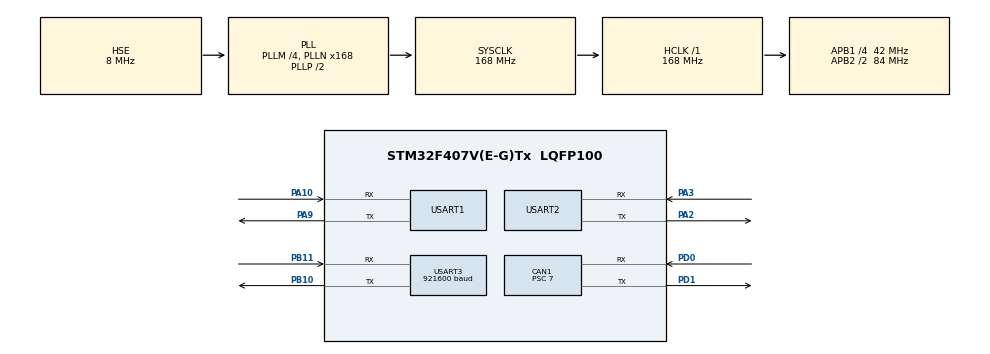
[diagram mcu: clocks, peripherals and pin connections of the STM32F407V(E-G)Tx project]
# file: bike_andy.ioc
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CAN1.ABOM=ENABLE
CAN1.AWUM=ENABLE
CAN1.BS1=CAN_BS1_3TQ
CAN1.BS2=CAN_BS2_2TQ
CAN1.CalculateBaudRate=999999
CAN1.CalculateTimeBit=1000
CAN1.CalculateTimeQuantum=166.66666666666669
CAN1.Prescaler=7
CAN1.SJW=CAN_SJW_1TQ
Dma.Request0=USART3_RX
Dma.Request1=USART3_TX
Dma.USART3_RX.0.Direction=DMA_PERIPH_TO_MEMORY
Dma.USART3_RX.0.FIFOMode=DMA_FIFOMODE_DISABLE
Dma.USART3_RX.0.Instance=DMA1_Stream1
Dma.USART3_RX.0.MemDataAlignment=DMA_MDATAALIGN_BYTE
Dma.USART3_RX.0.MemInc=DMA_MINC_ENABLE
Dma.USART3_RX.0.Mode=DMA_CIRCULAR
Dma.USART3_RX.0.PeriphDataAlignment=DMA_PDATAALIGN_BYTE
Dma.USART3_RX.0.PeriphInc=DMA_PINC_DISABLE
Dma.USART3_RX.0.Priority=DMA_PRIORITY_LOW
Dma.USART3_TX.1.Direction=DMA_MEMORY_TO_PERIPH
Dma.USART3_TX.1.FIFOMode=DMA_FIFOMODE_DISABLE
Dma.USART3_TX.1.Instance=DMA1_Stream3
Dma.USART3_TX.1.MemDataAlignment=DMA_MDATAALIGN_BYTE
Dma.USART3_TX.1.MemInc=DMA_MINC_ENABLE
Dma.USART3_TX.1.Mode=DMA_NORMAL
Dma.USART3_TX.1.PeriphDataAlignment=DMA_PDATAALIGN_BYTE
Dma.USART3_TX.1.PeriphInc=DMA_PINC_DISABLE
Dma.USART3_TX.1.Priority=DMA_PRIORITY_LOW
Mcu.Family=STM32F4
Mcu.Name=STM32F407V(E-G)Tx
Mcu.Package=LQFP100
NVIC.CAN1_RX0_IRQn=true\:6\:0\:true\:false\:true\:true\:true\:true
NVIC.DMA1_Stream1_IRQn=true\:0\:0\:false\:false\:true\:false\:true\:true
NVIC.DMA1_Stream3_IRQn=true\:0\:0\:false\:false\:true\:false\:true\:true
NVIC.PriorityGroup=NVIC_PRIORITYGROUP_4
NVIC.TIM2_IRQn=true\:5\:0\:true\:false\:true\:true\:true\:true
NVIC.TIM3_IRQn=true\:0\:0\:false\:false\:true\:true\:true\:true
NVIC.USART3_IRQn=true\:6\:0\:true\:false\:true\:true\:true\:true
PA10.Mode=Asynchronous
PA10.Signal=USART1_RX
PA13.Mode=Serial_Wire
PA13.Signal=SYS_JTMS-SWDIO
PA14.Mode=Serial_Wire
PA14.Signal=SYS_JTCK-SWCLK
PA2.Mode=Asynchronous
PA2.Signal=USART2_TX
PA3.Mode=Asynchronous
PA3.Signal=USART2_RX
PA9.Mode=Asynchronous
PA9.Signal=USART1_TX
PB10.Mode=Asynchronous
PB10.Signal=USART3_TX
PB11.Mode=Asynchronous
PB11.Signal=USART3_RX
PC14-OSC32_IN.Mode=LSE-External-Oscillator
PC14-OSC32_IN.Signal=RCC_OSC32_IN
PC15-OSC32_OUT.Mode=LSE-External-Oscillator
PC15-OSC32_OUT.Signal=RCC_OSC32_OUT
PD0.Mode=CAN_Activate
PD0.Signal=CAN1_RX
PD1.Mode=CAN_Activate
PD1.Signal=CAN1_TX
PH0-OSC_IN.Mode=HSE-External-Oscillator
PH0-OSC_IN.Signal=RCC_OSC_IN
PH1-OSC_OUT.Mode=HSE-External-Oscillator
PH1-OSC_OUT.Signal=RCC_OSC_OUT
ProjectManager.HeapSize=0x200
ProjectManager.StackSize=0x400
ProjectManager.TargetToolchain=MDK-ARM V5.32
RCC.48MHZClocksFreq_Value=84000000
RCC.AHBFreq_Value=168000000
RCC.APB1CLKDivider=RCC_HCLK_DIV4
RCC.APB1Freq_Value=42000000
RCC.APB1TimFreq_Value=84000000
RCC.APB2CLKDivider=RCC_HCLK_DIV2
RCC.APB2Freq_Value=84000000
RCC.APB2TimFreq_Value=168000000
RCC.CortexFreq_Value=168000000
RCC.HCLKFreq_Value=168000000
RCC.HSE_VALUE=8000000
RCC.HSI_VALUE=16000000
RCC.PLLM=4
RCC.PLLN=168
RCC.PLLSourceVirtual=RCC_PLLSOURCE_HSE
RCC.SYSCLKFreq_VALUE=168000000
RCC.SYSCLKSource=RCC_SYSCLKSOURCE_PLLCLK
RCC.VCOOutputFreq_Value=336000000
TIM2.Period=300-1
TIM2.Prescaler=8400-1
TIM3.Period=1000-1
TIM3.Prescaler=420-1
USART1.VirtualMode=VM_ASYNC
USART2.VirtualMode=VM_ASYNC
USART3.BaudRate=921600
USART3.VirtualMode=VM_ASYNC
VP_TIM2_VS_ClockSourceINT.Mode=Internal
VP_TIM3_VS_ClockSourceINT.Mode=Internal
board=custom

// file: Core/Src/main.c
/* USER CODE BEGIN Header */
/**
  ******************************************************************************
  * @file           : main.c
  * @brief          : Main program body
  ******************************************************************************
  * @attention
  *
  * Copyright (c) 2023 STMicroelectronics.
  * All rights reserved.
  *
  * This software is licensed under terms that can be found in the LICENSE file
  * in the root directory of this software component.
  * If no LICENSE file comes with this software, it is provided AS-IS.
  *
  ******************************************************************************
  */
/* USER CODE END Header */
#include "main.h"
#include "can.h"
#include "dma.h"
#include "tim.h"
#include "usart.h"
#include "gpio.h"

/* USER CODE BEGIN Includes */
#include "odriver.h"
#include "fdilink_decode.h"
//#include <balance.h>
#include "stdlib.h"

/* USER CODE END Includes */

void SystemClock_Config(void);

/* USER CODE BEGIN 0 */
Odrv_t odrive_andy;
odrvmsg Odrvmsg;
bike_state * andy_bike_point = &andy_bike;
/* USER CODE END 0 */

int main(void)
{

  /* MCU Configuration--------------------------------------------------------*/

  /* Reset of all peripherals, Initializes the Flash interface and the Systick. */
  HAL_Init();

  /* Configure the system clock */
  SystemClock_Config();

  /* Initialize all configured peripherals */
  MX_GPIO_Init();
  MX_DMA_Init();
  MX_CAN1_Init();
  MX_TIM2_Init();
  MX_TIM3_Init();
  MX_USART1_UART_Init();
  MX_USART2_UART_Init();
  MX_USART3_UART_Init();
  /* USER CODE BEGIN 2 */
  CAN_Init();
  HAL_CAN_Start(&hcan1);
  HAL_TIM_Base_Start_IT(&htim2);      // 0.03s pid�����ж�
  HAL_TIM_Base_Start_IT(&htim3);     //200hz 0.005s ��ȡ���������ѹ����s
  OdriveInit(&odrive_andy,0x05,MAXimum_velocity,MAXimum_current,TORQUE_RAMP,TORQUE_CONTROL);
//  printf("init_ok\n");
  //Main();

  /* USER CODE END 2 */

  /* Infinite loop */
  while (1)
  {
	interrupt_imu_date(andy_bike_point);
  }
}

void SystemClock_Config(void)
{
  RCC_OscInitTypeDef RCC_OscInitStruct = {0};
  RCC_ClkInitTypeDef RCC_ClkInitStruct = {0};

  /** Configure the main internal regulator output voltage
  */
  __HAL_RCC_PWR_CLK_ENABLE();
  __HAL_PWR_VOLTAGESCALING_CONFIG(PWR_REGULATOR_VOLTAGE_SCALE1);

  /** Initializes the RCC Oscillators according to the specified parameters
  * in the RCC_OscInitTypeDef structure.
  */
  RCC_OscInitStruct.OscillatorType = RCC_OSCILLATORTYPE_HSE;
  RCC_OscInitStruct.HSEState = RCC_HSE_ON;
  RCC_OscInitStruct.PLL.PLLState = RCC_PLL_ON;
  RCC_OscInitStruct.PLL.PLLSource = RCC_PLLSOURCE_HSE;
  RCC_OscInitStruct.PLL.PLLM = 4;
  RCC_OscInitStruct.PLL.PLLN = 168;
  RCC_OscInitStruct.PLL.PLLP = RCC_PLLP_DIV2;
  RCC_OscInitStruct.PLL.PLLQ = 4;
  if (HAL_RCC_OscConfig(&RCC_OscInitStruct) != HAL_OK)
  {
    Error_Handler();
  }

  /** Initializes the CPU, AHB and APB buses clocks
  */
  RCC_ClkInitStruct.ClockType = RCC_CLOCKTYPE_HCLK|RCC_CLOCKTYPE_SYSCLK
                              |RCC_CLOCKTYPE_PCLK1|RCC_CLOCKTYPE_PCLK2;
  RCC_ClkInitStruct.SYSCLKSource = RCC_SYSCLKSOURCE_PLLCLK;
  RCC_ClkInitStruct.AHBCLKDivider = RCC_SYSCLK_DIV1;
  RCC_ClkInitStruct.APB1CLKDivider = RCC_HCLK_DIV4;
  RCC_ClkInitStruct.APB2CLKDivider = RCC_HCLK_DIV2;

  if (HAL_RCC_ClockConfig(&RCC_ClkInitStruct, FLASH_LATENCY_5) != HAL_OK)
  {
    Error_Handler();
  }
}

/* USER CODE BEGIN 4 */
void HAL_CAN_RxFifo0MsgPendingCallback(CAN_HandleTypeDef *canHandle)
{

    // CAN���ݽ���
    if (canHandle->Instance == hcan1.Instance)
    {
        if (HAL_CAN_GetRxMessage(canHandle, CAN_RX_FIFO0, &Odrvmsg.RXmsg, Odrvmsg.Data) == HAL_OK)		// ��ý��յ�������ͷ������
        {
			decode_Odrive(&odrive_andy,andy_bike_point);
			HAL_CAN_ActivateNotification(canHandle, CAN_IT_RX_FIFO0_MSG_PENDING);						// �ٴ�ʹ��FIFO0�����ж�
        }
    }
}

void HAL_TIM_PeriodElapsedCallback(TIM_HandleTypeDef *htim)
{
    if(htim->Instance == htim2.Instance)
    {
		LQR_operation(andy_bike_point);
    }
	else if(htim->Instance == htim3.Instance)
    {
		OdriveGetEncoderFeedback(&odrive_andy);
		OdriveGet_VOLTAGE_Gurren(&odrive_andy);
    }
}

/* USER CODE END 4 */

void Error_Handler(void)
{
  __disable_irq();
  while (1)
  {
  }
}
